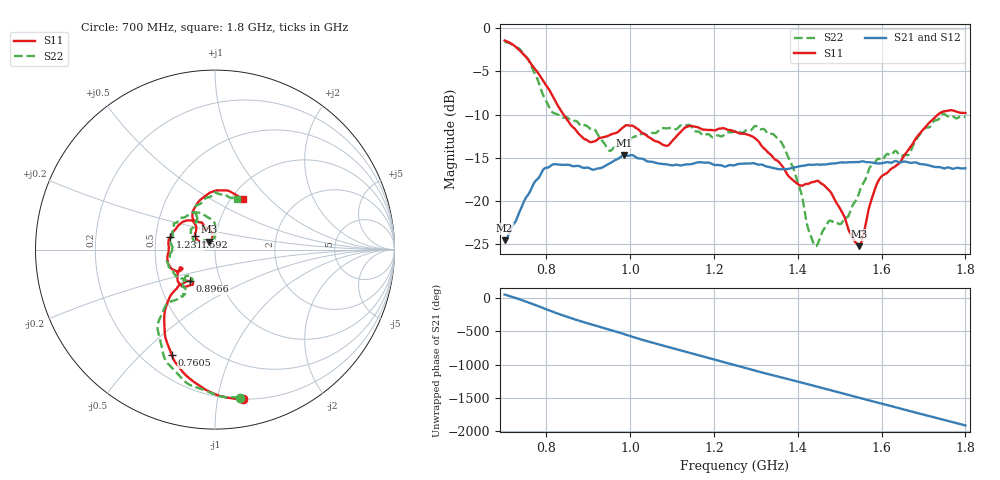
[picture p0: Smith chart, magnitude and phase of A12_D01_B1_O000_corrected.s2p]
! Created with skrf 1.9.0 (http://scikit-rf.org).
# Hz S RI R 50.0
!freq ReS11 ImS11 ReS21 ImS21 ReS12 ImS12 ReS22 ImS22
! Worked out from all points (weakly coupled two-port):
!   1601 points, 700 MHz to 1.8 GHz, reference 50 ohm
!   highest |S21| = -14.66 dB at 984.6 MHz (marker M1); lowest = -24.5 dB at 700 MHz (marker M2)
!   lowest |S11| = -25.2 dB at 1.547 GHz (marker M3), VSWR 1.12, Z = 46.6 + j4.09 ohm
!   |S11| at or under -10 dB: 840.8 MHz to 1.734 GHz (893.3 MHz wide, 69.4 % of centre)
!   |S22| runs from -25.2 to -1.6 dB; largest |S21 - S12| = 0.0038
!   S11 on the Smith chart (normalised r, x): 700 MHz: 0.20, -1.18; 760.5 MHz: 0.32, -0.62; 896.6 MHz: 0.71, -0.27; 1.231 GHz: 0.60, +0.09; 1.592 GHz: 0.80, +0.12; 1.8 GHz: 1.13, +0.71
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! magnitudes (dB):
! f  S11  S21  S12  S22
! 700 MHz  -1.4  -24.5  -24.3  -1.6
! 760.5 MHz  -4.0  -18.9  -18.8  -4.0
! 812.8 MHz  -7.7  -15.8  -15.8  -9.6
! 883.6 MHz  -12.5  -16.1  -16.0  -11.3
! 896.6 MHz  -12.9  -16.1  -16.2  -11.3
! 950.2 MHz  -12.4  -15.6  -15.6  -14.2
! 984.6 MHz  -11.4  -14.7  -14.8  -13.0
! 1.067 GHz  -13.2  -15.6  -15.6  -11.9
! 1.141 GHz  -11.3  -15.7  -15.7  -11.2
! 1.231 GHz  -11.7  -15.9  -15.9  -12.1
! 1.25 GHz  -12.0  -15.8  -15.8  -11.9
! 1.36 GHz  -15.8  -16.3  -16.3  -13.2
! 1.394 GHz  -17.8  -16.1  -16.1  -16.8
! 1.434 GHz  -17.8  -15.8  -15.8  -24.4
! 1.477 GHz  -18.9  -15.7  -15.7  -22.3
! 1.505 GHz  -21.2  -15.5  -15.5  -22.5
! 1.547 GHz  -25.2  -15.5  -15.4  -18.9
! 1.592 GHz  -17.7  -15.6  -15.6  -15.1
! 1.617 GHz  -16.5  -15.5  -15.5  -14.6
! 1.664 GHz  -14.1  -15.5  -15.5  -14.7
! 1.737 GHz  -9.9  -16.1  -16.1  -10.5
! 1.8 GHz  -9.8  -16.2  -16.2  -10.3
